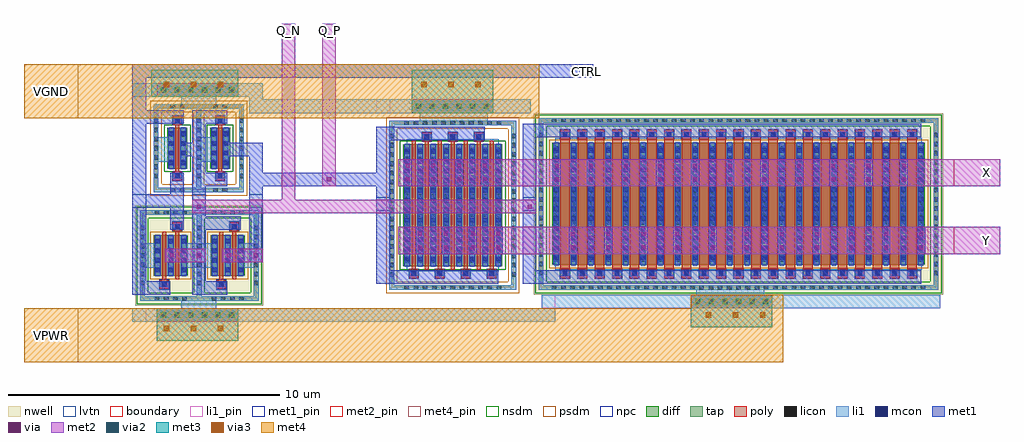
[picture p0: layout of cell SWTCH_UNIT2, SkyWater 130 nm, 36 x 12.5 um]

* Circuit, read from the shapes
.subckt SWTCH_UNIT2 CTRL Q_N Q_P VGND VPWR X Y
XM1 Q_N CTRL VGND VGND sky130_fd_pr__nfet_01v8 w=1.5 l=0.15
XM2 Q_P Q_N VGND VGND sky130_fd_pr__nfet_01v8 w=1.5 l=0.15
XM3 Y Q_P X VGND sky130_fd_pr__nfet_01v8_lvt w=4.5 l=0.15 m=7
XM4 Q_N CTRL VPWR VPWR sky130_fd_pr__pfet_01v8 w=1.5 l=0.15 m=2
XM5 Q_P Q_N VPWR VPWR sky130_fd_pr__pfet_01v8 w=1.5 l=0.15 m=2
XM6 Y Q_N X VPWR sky130_fd_pr__pfet_01v8_lvt w=4.5 l=0.35 m=21
.ends

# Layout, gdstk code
import gdstk
lib = gdstk.Library(unit=1e-6, precision=1e-09)
def R(c, l, rs):  # rectangles x0, y0, x1, y1
    for r in rs: c.add(gdstk.rectangle(r[:2], r[2:], *l))
def A(c, l, x, y, w, h, nx, ny, dx, dy):  # array of equal rectangles
    R(c, l, [(x+i*dx, y+j*dy, x+i*dx+w, y+j*dy+h) for i in range(nx) for j in range(ny)])
nwell = (64, 20)
diff = (65, 20)
tap = (65, 44)
poly = (66, 20)
licon = (66, 44)
li1_pin = (67, 16)
li1 = (67, 20)
mcon = (67, 44)
met1_pin = (68, 16)
met1 = (68, 20)
via = (68, 44)
met2_pin = (69, 16)
met2 = (69, 20)
via2 = (69, 44)
met3 = (70, 20)
via3 = (70, 44)
met4_pin = (71, 16)
met4 = (71, 20)
nsdm = (93, 44)
psdm = (94, 20)
npc = (95, 20)
lvtn = (125, 44)
boundary = (235, 4)

sky130_fd_pr__pfet_01v8_ = lib.new_cell('sky130_fd_pr__pfet_01v8_XJBLHL')
R(sky130_fd_pr__pfet_01v8_, nwell, [(-1.315,-1.845,1.315,1.845)])
R(sky130_fd_pr__pfet_01v8_, diff, [(-0.625,-0.75,0.625,0.75)])
R(sky130_fd_pr__pfet_01v8_, tap, [(-1.135,-1.665,1.135,-1.495), (-1.135,-1.495,-0.965,1.495), (0.965,-1.495,1.135,1.495), (-1.135,1.495,1.135,1.665)])
R(sky130_fd_pr__pfet_01v8_, poly, [(-0.405,-1.235,-0.075,-0.905), (-0.315,-0.905,-0.165,0.88), (0.165,-0.88,0.315,0.905), (0.075,0.905,0.405,1.235)])
A(sky130_fd_pr__pfet_01v8_, licon, -0.595, -1.665, 0.17, 0.17, 4, 2, 0.34, 3.16)
A(sky130_fd_pr__pfet_01v8_, licon, -1.135, -1.105, 0.17, 0.17, 1, 7, 0, 0.34)
A(sky130_fd_pr__pfet_01v8_, licon, 0.965, -1.105, 0.17, 0.17, 1, 7, 0, 0.34)
A(sky130_fd_pr__pfet_01v8_, licon, -0.565, -0.595, 0.17, 0.17, 3, 4, 0.48, 0.34)
R(sky130_fd_pr__pfet_01v8_, licon, [(-0.325,-1.155,-0.155,-0.985), (0.155,0.985,0.325,1.155)])
A(sky130_fd_pr__pfet_01v8_, li1, -0.565, -0.77, 0.17, 1.54, 3, 1, 0.48, 0)
R(sky130_fd_pr__pfet_01v8_, li1, [(-1.135,-1.665,1.135,-1.495), (-1.135,-1.495,-0.965,1.495), (0.965,-1.495,1.135,1.495), (-0.405,-1.155,-0.075,-0.985), (0.075,0.985,0.405,1.155), (-1.135,1.495,1.135,1.665)])
A(sky130_fd_pr__pfet_01v8_, mcon, -0.565, -0.625, 0.17, 0.17, 3, 4, 0.48, 0.36)
R(sky130_fd_pr__pfet_01v8_, mcon, [(-0.325,-1.155,-0.155,-0.985), (0.155,0.985,0.325,1.155)])
A(sky130_fd_pr__pfet_01v8_, met1, -0.595, -0.75, 0.23, 1.5, 3, 1, 0.48, 0)
R(sky130_fd_pr__pfet_01v8_, met1, [(-0.385,-1.185,-0.095,-0.955), (0.095,0.955,0.385,1.185)])
R(sky130_fd_pr__pfet_01v8_, nsdm, [(-1.26,-1.79,1.26,-1.37), (-1.26,-1.37,-0.84,1.37), (0.84,-1.37,1.26,1.37), (-1.26,1.37,1.26,1.79)])
R(sky130_fd_pr__pfet_01v8_, psdm, [(-0.75,-0.875,0.75,0.875)])
R(sky130_fd_pr__pfet_01v8_, npc, [(-0.425,-1.255,-0.055,-0.885), (0.055,0.885,0.425,1.255)])
R(sky130_fd_pr__pfet_01v8_, boundary, [(-1.05,-1.58,1.05,1.58)])

sky130_fd_pr__nfet_01v8_ = lib.new_cell('sky130_fd_pr__nfet_01v8_NRQ53D')
R(sky130_fd_pr__nfet_01v8_, diff, [(-0.365,-0.75,0.365,0.75)])
R(sky130_fd_pr__nfet_01v8_, tap, [(-0.875,-1.62,0.875,-1.45), (-0.875,-1.45,-0.705,1.45), (0.705,-1.45,0.875,1.45), (-0.875,1.45,0.875,1.62)])
R(sky130_fd_pr__nfet_01v8_, poly, [(-0.165,-1.19,0.165,-0.86), (-0.075,-0.86,0.075,0.86), (-0.165,0.86,0.165,1.19)])
A(sky130_fd_pr__nfet_01v8_, licon, -0.875, -1.105, 0.17, 0.17, 1, 7, 0, 0.34)
A(sky130_fd_pr__nfet_01v8_, licon, 0.705, -1.105, 0.17, 0.17, 1, 7, 0, 0.34)
A(sky130_fd_pr__nfet_01v8_, licon, -0.305, -0.595, 0.17, 0.17, 1, 4, 0, 0.34)
A(sky130_fd_pr__nfet_01v8_, licon, 0.135, -0.595, 0.17, 0.17, 1, 4, 0, 0.34)
R(sky130_fd_pr__nfet_01v8_, licon, [(-0.255,-1.62,-0.085,-1.45), (0.085,-1.62,0.255,-1.45), (-0.085,-1.11,0.085,-0.94), (-0.085,0.94,0.085,1.11), (-0.255,1.45,-0.085,1.62), (0.085,1.45,0.255,1.62)])
R(sky130_fd_pr__nfet_01v8_, li1, [(-0.875,-1.62,0.875,-1.45), (-0.875,-1.45,-0.705,1.45), (0.705,-1.45,0.875,1.45), (-0.165,-1.11,0.165,-0.94), (-0.305,-0.77,-0.135,0.77), (0.135,-0.77,0.305,0.77), (-0.165,0.94,0.165,1.11), (-0.875,1.45,0.875,1.62)])
A(sky130_fd_pr__nfet_01v8_, mcon, -0.305, -0.625, 0.17, 0.17, 1, 4, 0, 0.36)
A(sky130_fd_pr__nfet_01v8_, mcon, 0.135, -0.625, 0.17, 0.17, 1, 4, 0, 0.36)
R(sky130_fd_pr__nfet_01v8_, mcon, [(-0.085,-1.11,0.085,-0.94), (-0.085,0.94,0.085,1.11)])
R(sky130_fd_pr__nfet_01v8_, met1, [(-0.145,-1.14,0.145,-0.91), (-0.335,-0.75,-0.105,0.75), (0.105,-0.75,0.335,0.75), (-0.145,0.91,0.145,1.14)])
R(sky130_fd_pr__nfet_01v8_, nsdm, [(-0.49,-0.875,0.49,0.875)])
R(sky130_fd_pr__nfet_01v8_, psdm, [(-1,-1.745,1,-1.325), (-1,-1.325,-0.58,1.325), (0.58,-1.325,1,1.325), (-1,1.325,1,1.745)])
R(sky130_fd_pr__nfet_01v8_, npc, [(-0.185,-1.21,0.185,-0.84), (-0.185,0.84,0.185,1.21)])
R(sky130_fd_pr__nfet_01v8_, boundary, [(-0.79,-1.535,0.79,1.535)])

swtch_twoinv = lib.new_cell('SWTCH_TWOINV')
R(swtch_twoinv, li1_pin, [(-10.1,-3.6,-9.6,-3.1), (-10.1,4.7,-9.6,5.2)])
R(swtch_twoinv, li1, [(-10.1,-3.6,-5.3,-3.1), (-8.3,-3.1,-7,-2.8), (-9.7,-1.6,-9.2,-0.7), (-8.2,-1.6,-7.7,-0.7), (-7.6,-1.6,-7.1,-0.7), (-6.1,-1.6,-5.6,-0.7), (-9.2,2.3,-8.7,3.2), (-7.6,2.3,-7.1,3.2), (-8.3,4.4,-7,4.7), (-10.1,4.7,-5.3,5.2)])
R(swtch_twoinv, met1_pin, [(-10.1,0.6,-9.6,1.1), (-7.9,0.6,-7.4,1.1), (-5.8,0.6,-5.3,1.1)])
R(swtch_twoinv, met1, [(-10.1,-2.6,-8.7,-2.1), (-7.9,-2.6,-6.6,-2.1), (-10.1,-2.1,-9.6,0.6), (-7.9,-2.1,-7.4,-0.2), (-8.9,-1.4,-8.5,-0.9), (-6.8,-1.4,-6.4,-0.9), (-5.8,-1.4,-5.3,2.5), (-8.7,-0.2,-8.2,0.6), (-7.9,-0.2,-6.1,0.3), (-7.9,0.3,-7.4,1.4), (-10.1,0.6,-8.2,1.1), (-10.1,1.1,-9.6,3.7), (-8.7,1.1,-8.2,1.9), (-7.9,1.4,-6.6,1.9), (-7.9,1.9,-7.4,2.5), (-8.2,2.5,-7.4,3), (-6.6,2.5,-5.3,3), (-7.9,3,-7.4,3.7), (-10.1,3.7,-8.2,4.2), (-7.9,3.7,-6.6,4.2)])
R(swtch_twoinv, via, [(-8.725,-1.225,-8.575,-1.075), (-7.725,-1.225,-7.575,-1.075), (-6.625,-1.225,-6.475,-1.075), (-5.625,-1.225,-5.475,-1.075)])
R(swtch_twoinv, met2, [(-8.9,-1.4,-7.4,-0.9), (-6.8,-1.4,-5.3,-0.9)])
swtch_twoinv.add(gdstk.Reference(sky130_fd_pr__pfet_01v8_, (-8.685,-1.155)))
swtch_twoinv.add(gdstk.Reference(sky130_fd_pr__pfet_01v8_, (-6.585,-1.155)))
swtch_twoinv.add(gdstk.Reference(sky130_fd_pr__nfet_01v8_, (-6.865,2.8)))
swtch_twoinv.add(gdstk.Reference(sky130_fd_pr__nfet_01v8_, (-8.445,2.8)))
swtch_twoinv.add(gdstk.Label('VPWR', (-9.85,-3.35), layer=67, texttype=5))
swtch_twoinv.add(gdstk.Label('VGND', (-9.85,4.95), layer=67, texttype=5))
swtch_twoinv.add(gdstk.Label('IN', (-9.85,0.85), layer=68, texttype=5))
swtch_twoinv.add(gdstk.Label('Q_P', (-5.55,0.85), layer=68, texttype=5))
swtch_twoinv.add(gdstk.Label('Q_N', (-7.65,0.85), layer=68, texttype=5))

c_sky130_fd_pr__pfet_01v8_ = lib.new_cell('sky130_fd_pr__pfet_01v8_lvt_MUCXQQ')
R(c_sky130_fd_pr__pfet_01v8_, nwell, [(-7.555,-3.345,7.555,3.345)])
R(c_sky130_fd_pr__pfet_01v8_, diff, [(-6.865,-2.25,6.865,2.25)])
R(c_sky130_fd_pr__pfet_01v8_, tap, [(-7.375,-3.165,7.375,-2.995), (-7.375,-2.995,-7.205,2.995), (7.205,-2.995,7.375,2.995), (-7.375,2.995,7.375,3.165)])
A(c_sky130_fd_pr__pfet_01v8_, poly, -6.575, -2.735, 0.35, 5.47, 21, 1, 0.64, 0)
A(c_sky130_fd_pr__pfet_01v8_, licon, -6.885, -3.165, 0.17, 0.17, 41, 2, 0.34, 6.16)
A(c_sky130_fd_pr__pfet_01v8_, licon, -6.485, -2.655, 0.17, 0.17, 21, 2, 0.64, 5.14)
A(c_sky130_fd_pr__pfet_01v8_, licon, -7.375, -2.635, 0.17, 0.17, 1, 16, 0, 0.34)
A(c_sky130_fd_pr__pfet_01v8_, licon, 7.205, -2.635, 0.17, 0.17, 1, 16, 0, 0.34)
A(c_sky130_fd_pr__pfet_01v8_, licon, -6.805, -2.125, 0.17, 0.17, 22, 13, 0.64, 0.34)
A(c_sky130_fd_pr__pfet_01v8_, li1, -6.575, -2.655, 0.35, 0.17, 21, 2, 0.64, 5.14)
A(c_sky130_fd_pr__pfet_01v8_, li1, -6.805, -2.27, 0.17, 4.54, 22, 1, 0.64, 0)
R(c_sky130_fd_pr__pfet_01v8_, li1, [(-7.375,-3.165,7.375,-2.995), (-7.375,-2.995,-7.205,2.995), (7.205,-2.995,7.375,2.995), (-7.375,2.995,7.375,3.165)])
A(c_sky130_fd_pr__pfet_01v8_, mcon, -6.485, -2.655, 0.17, 0.17, 21, 2, 0.64, 5.14)
A(c_sky130_fd_pr__pfet_01v8_, mcon, -6.805, -2.065, 0.17, 0.17, 22, 12, 0.64, 0.36)
A(c_sky130_fd_pr__pfet_01v8_, met1, -6.555, -2.685, 0.31, 0.23, 21, 2, 0.64, 5.14)
A(c_sky130_fd_pr__pfet_01v8_, met1, -6.835, -2.25, 0.23, 4.5, 22, 1, 0.64, 0)
R(c_sky130_fd_pr__pfet_01v8_, nsdm, [(-7.5,-3.29,7.5,-2.87), (-7.5,-2.87,-7.08,2.87), (7.08,-2.87,7.5,2.87), (-7.5,2.87,7.5,3.29)])
R(c_sky130_fd_pr__pfet_01v8_, psdm, [(-6.99,-2.375,6.99,2.375)])
A(c_sky130_fd_pr__pfet_01v8_, npc, -6.585, -2.755, 0.37, 0.37, 21, 2, 0.64, 5.14)
R(c_sky130_fd_pr__pfet_01v8_, lvtn, [(-6.755,-2.43,6.755,2.43)])
R(c_sky130_fd_pr__pfet_01v8_, boundary, [(-7.29,-3.08,7.29,3.08)])

c_sky130_fd_pr__nfet_01v8_ = lib.new_cell('sky130_fd_pr__nfet_01v8_lvt_8AG63Z')
R(c_sky130_fd_pr__nfet_01v8_, diff, [(-1.825,-2.25,1.825,2.25)])
R(c_sky130_fd_pr__nfet_01v8_, tap, [(-2.335,-3.12,2.335,-2.95), (-2.335,-2.95,-2.165,2.95), (2.165,-2.95,2.335,2.95), (-2.335,2.95,2.335,3.12)])
A(c_sky130_fd_pr__nfet_01v8_, poly, -1.605, -2.69, 0.33, 0.33, 4, 1, 0.96, 0)
A(c_sky130_fd_pr__nfet_01v8_, poly, -1.035, -2.38, 0.15, 4.74, 3, 1, 0.96, 0)
A(c_sky130_fd_pr__nfet_01v8_, poly, -1.515, -2.36, 0.15, 4.74, 4, 1, 0.96, 0)
A(c_sky130_fd_pr__nfet_01v8_, poly, -1.125, 2.36, 0.33, 0.33, 3, 1, 0.96, 0)
A(c_sky130_fd_pr__nfet_01v8_, licon, -1.785, -3.12, 0.17, 0.17, 11, 2, 0.34, 6.07)
A(c_sky130_fd_pr__nfet_01v8_, licon, -2.335, -2.635, 0.17, 0.17, 1, 16, 0, 0.34)
A(c_sky130_fd_pr__nfet_01v8_, licon, 2.165, -2.635, 0.17, 0.17, 1, 16, 0, 0.34)
A(c_sky130_fd_pr__nfet_01v8_, licon, -1.525, -2.61, 0.17, 0.17, 4, 1, 0.96, 0)
A(c_sky130_fd_pr__nfet_01v8_, licon, -1.765, -2.125, 0.17, 0.17, 8, 13, 0.48, 0.34)
A(c_sky130_fd_pr__nfet_01v8_, licon, -1.045, 2.44, 0.17, 0.17, 3, 1, 0.96, 0)
A(c_sky130_fd_pr__nfet_01v8_, li1, -1.605, -2.61, 0.33, 0.17, 4, 1, 0.96, 0)
A(c_sky130_fd_pr__nfet_01v8_, li1, -1.765, -2.27, 0.17, 4.54, 8, 1, 0.48, 0)
A(c_sky130_fd_pr__nfet_01v8_, li1, -1.125, 2.44, 0.33, 0.17, 3, 1, 0.96, 0)
R(c_sky130_fd_pr__nfet_01v8_, li1, [(-2.335,-3.12,2.335,-2.95), (-2.335,-2.95,-2.165,2.95), (2.165,-2.95,2.335,2.95), (-2.335,2.95,2.335,3.12)])
A(c_sky130_fd_pr__nfet_01v8_, mcon, -1.525, -2.61, 0.17, 0.17, 4, 1, 0.96, 0)
A(c_sky130_fd_pr__nfet_01v8_, mcon, -1.765, -2.065, 0.17, 0.17, 8, 12, 0.48, 0.36)
A(c_sky130_fd_pr__nfet_01v8_, mcon, -1.045, 2.44, 0.17, 0.17, 3, 1, 0.96, 0)
A(c_sky130_fd_pr__nfet_01v8_, met1, -1.585, -2.64, 0.29, 0.23, 4, 1, 0.96, 0)
A(c_sky130_fd_pr__nfet_01v8_, met1, -1.795, -2.25, 0.23, 4.5, 8, 1, 0.48, 0)
A(c_sky130_fd_pr__nfet_01v8_, met1, -1.105, 2.41, 0.29, 0.23, 3, 1, 0.96, 0)
R(c_sky130_fd_pr__nfet_01v8_, nsdm, [(-1.95,-2.375,1.95,2.375)])
R(c_sky130_fd_pr__nfet_01v8_, psdm, [(-2.46,-3.245,2.46,-2.825), (-2.46,-2.825,-2.04,2.825), (2.04,-2.825,2.46,2.825), (-2.46,2.825,2.46,3.245)])
A(c_sky130_fd_pr__nfet_01v8_, npc, -1.625, -2.71, 0.37, 0.37, 4, 1, 0.96, 0)
A(c_sky130_fd_pr__nfet_01v8_, npc, -1.145, 2.34, 0.37, 0.37, 3, 1, 0.96, 0)
R(c_sky130_fd_pr__nfet_01v8_, lvtn, [(-1.695,-2.43,1.695,2.43)])
R(c_sky130_fd_pr__nfet_01v8_, boundary, [(-2.25,-3.035,2.25,3.035)])

swtch_gate = lib.new_cell('SWTCH_GATE')
R(swtch_gate, li1_pin, [(5.8,-0.5,6.3,0), (-0.3,6.7,0.2,7.2)])
R(swtch_gate, li1, [(5.8,-0.5,20.5,0), (11.5,0,14,0.2), (1.3,6.4,3.8,6.7), (-0.3,6.7,5.4,7.2)])
R(swtch_gate, met1_pin, [(-0.3,3.1,0.2,3.6), (5.1,3.1,5.6,3.6)])
A(swtch_gate, met1, 6.8, 1.5, 0.3, 1, 3, 1, 1.3, 0)
A(swtch_gate, met1, 13.2, 1.5, 0.3, 1, 3, 1, 1.3, 0)
A(swtch_gate, met1, 17.05, 1.5, 0.3, 1, 3, 1, 1.3, 0)
A(swtch_gate, met1, 0.7, 4, 0.3, 1, 4, 1, 0.95, 0)
A(swtch_gate, met1, 10, 4, 0.3, 1, 3, 1, 1.3, 0)
A(swtch_gate, met1, 16.4, 4, 0.3, 1, 3, 1, 1.3, 0)
R(swtch_gate, met1, [(-0.3,0.4,4.2,0.9), (5.1,0.4,19.8,0.9), (-0.3,0.9,0.2,5.7), (5.1,0.9,5.6,5.8), (1.15,1.5,1.45,2.5), (2.1,1.5,2.4,2.5), (3.1,1.5,3.4,2.5), (4.05,1.5,4.35,2.5), (10.65,1.5,10.95,2.5), (11.95,1.5,12.25,2.5), (6.2,4,6.5,5), (7.45,4,7.75,5), (8.75,4,9.05,5), (13.85,4,14.15,5), (15.15,4,15.45,5), (-0.3,5.7,3.7,6.2), (5.1,5.8,19.8,6.3)])
A(swtch_gate, via, 6.875, 1.675, 0.15, 0.15, 3, 2, 1.3, 0.5)
A(swtch_gate, via, 13.275, 1.675, 0.15, 0.15, 3, 2, 1.3, 0.5)
A(swtch_gate, via, 17.125, 1.675, 0.15, 0.15, 3, 2, 1.3, 0.5)
A(swtch_gate, via, 0.775, 4.175, 0.15, 0.15, 4, 2, 0.95, 0.5)
A(swtch_gate, via, 10.075, 4.175, 0.15, 0.15, 3, 2, 1.3, 0.5)
A(swtch_gate, via, 16.475, 4.175, 0.15, 0.15, 3, 2, 1.3, 0.5)
R(swtch_gate, via, [(1.225,1.675,1.375,1.825), (2.175,1.675,2.325,1.825), (3.175,1.675,3.325,1.825), (4.125,1.675,4.275,1.825), (10.725,1.675,10.875,1.825), (12.025,1.675,12.175,1.825), (1.225,2.175,1.375,2.325), (2.175,2.175,2.325,2.325), (3.175,2.175,3.325,2.325), (4.125,2.175,4.275,2.325), (10.725,2.175,10.875,2.325), (12.025,2.175,12.175,2.325), (6.275,4.175,6.425,4.325), (7.525,4.175,7.675,4.325), (8.825,4.175,8.975,4.325), (13.925,4.175,14.075,4.325), (15.225,4.175,15.375,4.325), (6.275,4.675,6.425,4.825), (7.525,4.675,7.675,4.825), (8.825,4.675,8.975,4.825), (13.925,4.675,14.075,4.825), (15.225,4.675,15.375,4.825)])
R(swtch_gate, met2_pin, [(21,1.5,22,2.5), (21,4,22,5)])
R(swtch_gate, met2, [(0.5,1.5,22,2.5), (0.5,4,22,5)])
swtch_gate.add(gdstk.Reference(c_sky130_fd_pr__pfet_01v8_, (13.055,3.345)))
swtch_gate.add(gdstk.Reference(c_sky130_fd_pr__nfet_01v8_, (2.515,3.3)))
swtch_gate.add(gdstk.Label('VPWR', (6.05,-0.25), layer=67, texttype=5))
swtch_gate.add(gdstk.Label('VGND', (-0.05,6.95), layer=67, texttype=5))
swtch_gate.add(gdstk.Label('CTRL_P', (-0.05,3.35), layer=68, texttype=5))
swtch_gate.add(gdstk.Label('CTRL_N', (5.35,3.35), layer=68, texttype=5))
swtch_gate.add(gdstk.Label('X', (21.5,4.5), layer=69, texttype=5))
swtch_gate.add(gdstk.Label('Y', (21.5,2), layer=69, texttype=5))

swtch_unit2 = lib.new_cell('SWTCH_UNIT2')
A(swtch_unit2, li1, -5, -11.4, 0.3, 0.3, 6, 2, 0.5, 8.3)
A(swtch_unit2, li1, 14.7, -10.9, 0.3, 0.3, 6, 1, 0.5, 0)
A(swtch_unit2, li1, 4.4, -3.7, 0.3, 0.3, 6, 1, 0.5, 0)
R(swtch_unit2, li1, [(-1.2,-11.5,9.6,-11), (-3.6,-9.5,-3.5,-8.6), (4.6,-4.2,7.1,-3.7), (-1.7,-3.8,3,-3.3), (-1.7,-3.3,-1.2,-3.2)])
A(swtch_unit2, mcon, -4.935, -11.335, 0.17, 0.17, 6, 2, 0.5, 8.3)
A(swtch_unit2, mcon, 14.765, -10.835, 0.17, 0.17, 6, 1, 0.5, 0)
A(swtch_unit2, mcon, 4.465, -3.635, 0.17, 0.17, 6, 1, 0.5, 0)
R(swtch_unit2, met1_pin, [(10.5,-2.5,11,-2)])
R(swtch_unit2, met1, [(-5.1,-11.5,-2.1,-11), (14.6,-11,17.6,-10.5), (-1.5,-7.5,-1.2,-7), (3,-7.5,3.5,-7), (-3.7,-7.4,-3.4,-7.1), (8.5,-7.4,8.8,-7.1), (-1.2,-6.5,3,-6), (4.3,-3.8,7.3,-3.3), (-6,-3.7,-5.5,-2.5), (-5.1,-3.2,-2.1,-2.7), (-6,-2.5,11,-2)])
A(swtch_unit2, via, -4.925, -11.325, 0.15, 0.15, 6, 2, 0.5, 8.3)
A(swtch_unit2, via, 14.775, -10.825, 0.15, 0.15, 6, 1, 0.5, 0)
A(swtch_unit2, via, 4.475, -3.625, 0.15, 0.15, 6, 1, 0.5, 0)
R(swtch_unit2, via, [(-3.625,-7.325,-3.475,-7.175), (8.575,-7.325,8.725,-7.175), (1.175,-6.325,1.325,-6.175)])
R(swtch_unit2, met2_pin, [(25,-9,26,-8), (25,-6.5,26,-5.5), (-0.5,-1,0,-0.5), (1,-1,1.5,-0.5)])
R(swtch_unit2, met2, [(-5.1,-11.5,-2.1,-11), (14.6,-11,17.6,-10.5), (25,-9,26,-8), (-3.8,-7.5,8.9,-7), (-0.5,-7,0,-0.5), (1,-6.5,1.5,-0.5), (25,-6.5,26,-5.5), (4.3,-3.8,7.3,-3.3), (-5.1,-3.2,-2.1,-2.7)])
A(swtch_unit2, via2, -4.95, -11.35, 0.2, 0.2, 6, 2, 0.5, 8.3)
A(swtch_unit2, via2, 14.75, -10.85, 0.2, 0.2, 6, 1, 0.5, 0)
A(swtch_unit2, via2, 4.45, -3.65, 0.2, 0.2, 6, 1, 0.5, 0)
R(swtch_unit2, met3, [(-5.1,-12.2,-2.1,-11), (14.6,-11.7,17.6,-10.5), (4.3,-3.8,7.3,-2.2), (-5.3,-3.2,-2.1,-2.2)])
A(swtch_unit2, via3, -4.85, -11.85, 0.2, 0.2, 3, 2, 1, 9)
A(swtch_unit2, via3, 15.15, -11.35, 0.2, 0.2, 3, 1, 1, 0)
A(swtch_unit2, via3, 4.65, -2.85, 0.2, 0.2, 3, 1, 1, 0)
R(swtch_unit2, met4_pin, [(-10,-13,-8,-11), (-10,-4,-8,-2)])
R(swtch_unit2, met4, [(-10,-13,18,-11), (14.6,-11,18,-10.5), (-10,-4,9,-2)])
swtch_unit2.add(gdstk.Reference(swtch_twoinv, (4.1,-7.9)))
swtch_unit2.add(gdstk.Reference(swtch_gate, (3.3,-10.5)))
swtch_unit2.add(gdstk.Label('VPWR', (-9,-12), layer=71, texttype=5))
swtch_unit2.add(gdstk.Label('VGND', (-9,-3), layer=71, texttype=5))
swtch_unit2.add(gdstk.Label('CTRL', (10.75,-2.25), layer=68, texttype=5))
swtch_unit2.add(gdstk.Label('X', (25.5,-6), layer=69, texttype=5))
swtch_unit2.add(gdstk.Label('Y', (25.5,-8.5), layer=69, texttype=5))
swtch_unit2.add(gdstk.Label('Q_P', (1.25,-0.75), layer=69, texttype=5))
swtch_unit2.add(gdstk.Label('Q_N', (-0.25,-0.75), layer=69, texttype=5))

lib.write_gds('SWTCH_UNIT2.gds')
